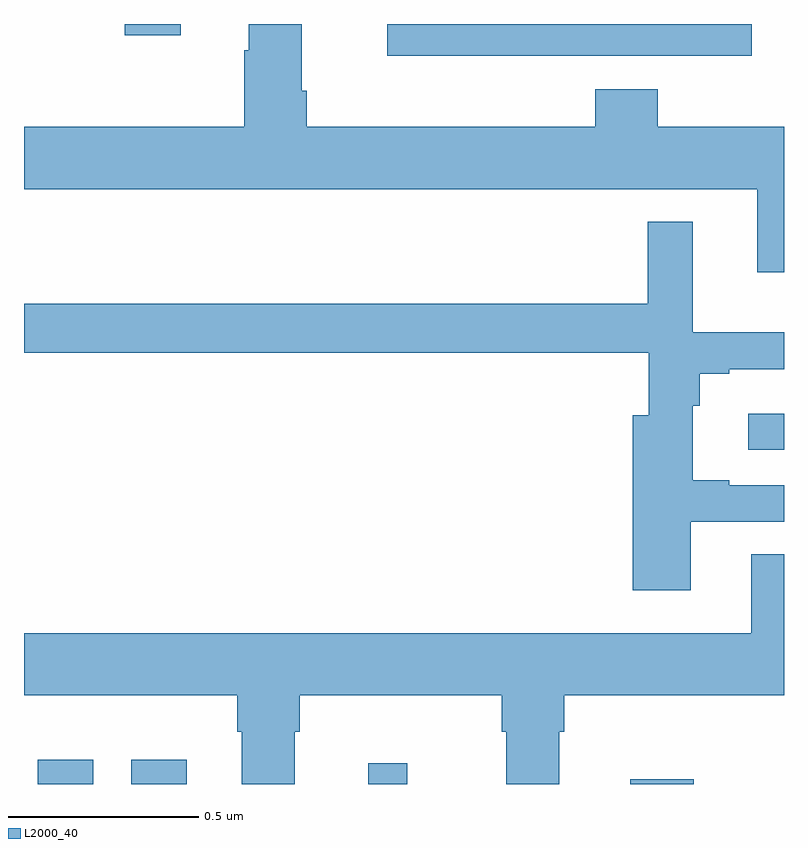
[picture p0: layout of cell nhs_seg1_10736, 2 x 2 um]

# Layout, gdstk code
import gdstk
lib = gdstk.Library(unit=1e-6, precision=1e-09)
def R(c, l, rs):  # rectangles x0, y0, x1, y1
    for r in rs: c.add(gdstk.rectangle(r[:2], r[2:], *l))
def P(c, l, *ps):  # polygons
    for p in ps: c.add(gdstk.Polygon(p, *l))
L2000_40 = (2000, 40)

nhs_seg1_10736 = lib.new_cell('nhs_seg1_10736')
R(nhs_seg1_10736, L2000_40, [(245.036,518.199,245.182,518.263), (245.282,518.199,245.428,518.263), (245.906,518.199,246.008,518.254), (246.596,518.199,246.762,518.212), (246.906,519.078,247,519.174), (245.265,520.17,245.413,520.199)])
P(nhs_seg1_10736, L2000_40, [(247,519.928),(246.668,519.928),(246.668,520.027),(246.503,520.027),(246.503,519.928),(245.744,519.928),(245.744,520.024),(245.731,520.024),(245.731,520.199),(245.591,520.199),(245.591,520.13),(245.579,520.13),(245.579,519.928),(245,519.928),(245,519.764),(246.929,519.764),(246.929,519.546),(247,519.546)],
  [(246.419,520.116),(246.915,520.116),(246.915,520.199),(245.956,520.199),(245.956,520.115),(246.419,520.115)],
  [(246.754,518.889),(247,518.889),(247,518.985),(246.856,518.985),(246.856,518.998),(246.76,518.998),(246.76,519.194),(246.778,519.194),(246.778,519.279),(246.856,519.279),(246.856,519.291),(247,519.291),(247,519.388),(246.76,519.388),(246.76,519.679),(246.642,519.679),(246.642,519.463),(245,519.463),(245,519.334),(246.644,519.334),(246.644,519.169),(246.602,519.169),(246.602,518.709),(246.754,518.709)],
  [(245.713,518.336),(245.726,518.336),(245.726,518.432),(246.257,518.432),(246.257,518.336),(246.269,518.336),(246.269,518.199),(246.409,518.199),(246.409,518.336),(246.422,518.336),(246.422,518.432),(247,518.432),(247,518.804),(246.914,518.804),(246.914,518.596),(245,518.596),(245,518.432),(245.561,518.432),(245.561,518.336),(245.573,518.336),(245.573,518.199),(245.713,518.199)])

lib.write_gds('nhs_seg1_10736.gds')
